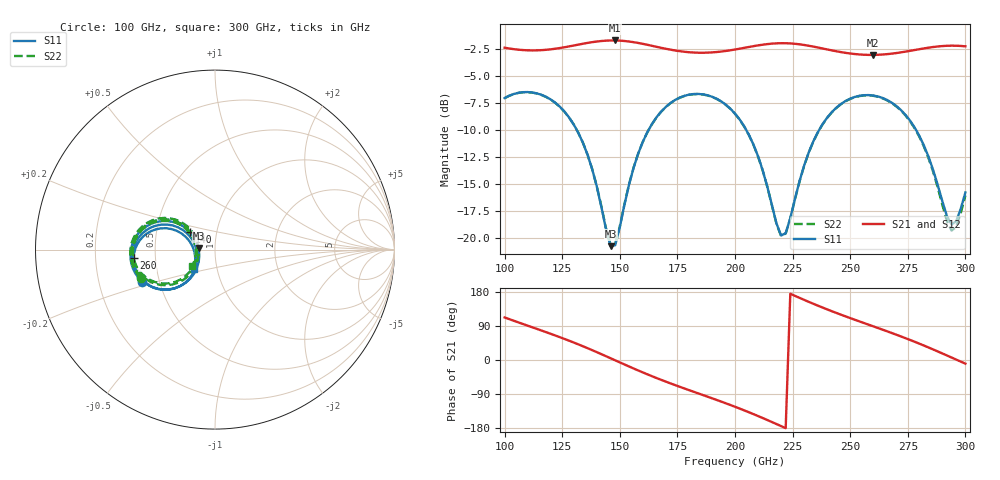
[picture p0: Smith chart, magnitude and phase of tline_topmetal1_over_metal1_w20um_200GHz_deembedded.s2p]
! Created with skrf 2.0.1 (http://scikit-rf.org).
# GHz S DB R 50.0
!freq dBS11 angS11 dBS21 angS21 dBS12 angS12 dBS22 angS22
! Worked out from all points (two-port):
!   101 points, 100 GHz to 300 GHz, reference 50 ohm
!   highest |S21| = -1.72 dB at 148 GHz (marker M1); lowest = -3.1 dB at 260 GHz (marker M2)
!   |S21| within 3 dB of the highest: start of sweep to end of sweep
!   lowest |S11| = -20.8 dB at 146 GHz (marker M3), VSWR 1.20, Z = 41.6 + j0.519 ohm
!   |S11| at or under -10 dB: 131.3 GHz to 162.5 GHz (31.24 GHz wide, 21.3 % of centre); 204.8 GHz to 236.6 GHz (31.72 GHz wide, 14.4 % of centre); 278.5 GHz to end of sweep
!   |S22| runs from -20.6 to -6.5 dB; largest |S21 - S12| = 3.1e-16
!   S11 on the Smith chart (normalised r, x): 100 GHz: 0.40, -0.18; 140 GHz: 0.74, +0.15; 260 GHz: 0.37, -0.04; 300 GHz: 0.77, -0.17
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100  -7.06 -156.4  -2.39 112.3  -2.39 112.3  -7.07 -159.1
116  -6.76 175.2  -2.62 77.8  -2.62 77.8  -6.77 172.0
126  -8.31 158.0  -2.35 55.6  -2.35 55.6  -8.32 154.6
134  -11.20 146.3  -2.02 36.3  -2.02 36.3  -11.20 142.7
140  -15.24 144.4  -1.82 20.8  -1.82 20.8  -15.21 140.9
146  -20.78 176.1  -1.72 4.6  -1.72 4.6  -20.65 172.2
148  -20.69 -161.1  -1.72 -0.8  -1.72 -0.8  -20.56 -165.6
158  -12.19 -131.4  -1.95 -27.7  -1.95 -27.7  -12.19 -136.3
168  -8.30 -145.4  -2.40 -52.5  -2.40 -52.5  -8.31 -150.4
184  -6.67 -172.8  -2.85 -88.0  -2.85 -88.0  -6.69 -178.2
200  -8.49 160.7  -2.56 -123.4  -2.56 -123.4  -8.51 154.9
210  -12.44 148.9  -2.18 -147.9  -2.18 -147.9  -12.46 142.7
220  -19.79 -178.1  -1.97 -174.4  -1.97 -174.4  -19.83 175.4
222  -19.57 -159.2  -1.98 -179.8  -1.98 -179.8  -19.61 -165.6
234  -11.06 -133.6  -2.29 148.4  -2.29 148.4  -11.09 -140.5
246  -7.60 -151.0  -2.80 119.6  -2.80 119.6  -7.62 -158.3
260  -6.82 -174.0  -3.06 88.9  -3.06 88.9  -6.85 178.1
268  -7.48 173.1  -2.94 71.3  -2.94 71.3  -7.52 164.8
280  -10.55 156.3  -2.53 43.1  -2.53 43.1  -10.63 147.3
294  -18.77 -173.0  -2.20 6.5  -2.20 6.5  -19.33 178.3
296  -18.47 -157.1  -2.21 1.1  -2.21 1.1  -19.00 -164.6
300  -15.80 -137.2  -2.26 -9.6  -2.26 -9.6  -16.08 -144.0
